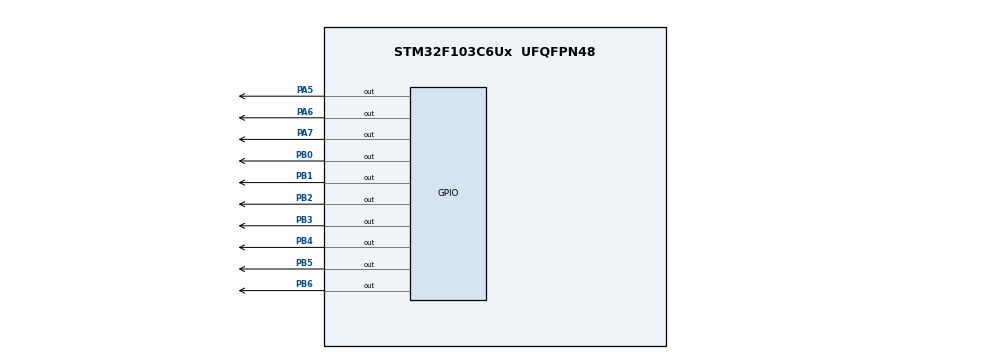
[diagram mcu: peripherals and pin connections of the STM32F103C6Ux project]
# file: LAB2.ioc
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Mcu.Family=STM32F1
Mcu.Name=STM32F103C6Ux
Mcu.Package=UFQFPN48
NVIC.PriorityGroup=NVIC_PRIORITYGROUP_4
NVIC.TIM2_IRQn=true\:0\:0\:false\:false\:true\:true\:true
PA5.Signal=GPIO_Output
PA6.Signal=GPIO_Output
PA7.Signal=GPIO_Output
PB0.Signal=GPIO_Output
PB1.Signal=GPIO_Output
PB2.Signal=GPIO_Output
PB3.Signal=GPIO_Output
PB4.Signal=GPIO_Output
PB5.Signal=GPIO_Output
PB6.Signal=GPIO_Output
ProjectManager.HeapSize=0x200
ProjectManager.StackSize=0x400
ProjectManager.TargetToolchain=STM32CubeIDE
RCC.APB1Freq_Value=8000000
RCC.APB2Freq_Value=8000000
TIM2.Period=9
TIM2.Prescaler=7999
VP_SYS_VS_ND.Mode=No_Debug
VP_TIM2_VS_ClockSourceINT.Mode=Internal
board=custom

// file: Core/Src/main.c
/* USER CODE BEGIN Header */
/**
  ******************************************************************************
  * @file           : main.c
  * @brief          : Main program body
  ******************************************************************************
  * @attention
  *
  * <h2><center>&copy; Copyright (c) 2021 STMicroelectronics.
  * All rights reserved.</center></h2>
  *
  * This software component is licensed by ST under BSD 3-Clause license,
  * the "License"; You may not use this file except in compliance with the
  * License. You may obtain a copy of the License at:
  *                        opensource.org/licenses/BSD-3-Clause
  *
  ******************************************************************************
  */
/* USER CODE END Header */
#include "main.h"
#include "led_7_seg_disp.h"

TIM_HandleTypeDef htim2;

void SystemClock_Config(void);
static void MX_GPIO_Init(void);
static void MX_TIM2_Init(void);

int main(void)
{

  /* MCU Configuration--------------------------------------------------------*/

  /* Reset of all peripherals, Initializes the Flash interface and the Systick. */
  HAL_Init();

  /* Configure the system clock */
  SystemClock_Config();

  /* Initialize all configured peripherals */
  MX_GPIO_Init();
  MX_TIM2_Init();
  /* USER CODE BEGIN 2 */
  HAL_TIM_Base_Start_IT(&htim2);
  /* USER CODE END 2 */

  /* Infinite loop */
  while (1)
  {

  }
}

void SystemClock_Config(void)
{
  RCC_OscInitTypeDef RCC_OscInitStruct = {0};
  RCC_ClkInitTypeDef RCC_ClkInitStruct = {0};

  /** Initializes the RCC Oscillators according to the specified parameters
  * in the RCC_OscInitTypeDef structure.
  */
  RCC_OscInitStruct.OscillatorType = RCC_OSCILLATORTYPE_HSI;
  RCC_OscInitStruct.HSIState = RCC_HSI_ON;
  RCC_OscInitStruct.HSICalibrationValue = RCC_HSICALIBRATION_DEFAULT;
  RCC_OscInitStruct.PLL.PLLState = RCC_PLL_NONE;
  if (HAL_RCC_OscConfig(&RCC_OscInitStruct) != HAL_OK)
  {
    Error_Handler();
  }
  /** Initializes the CPU, AHB and APB buses clocks
  */
  RCC_ClkInitStruct.ClockType = RCC_CLOCKTYPE_HCLK|RCC_CLOCKTYPE_SYSCLK
                              |RCC_CLOCKTYPE_PCLK1|RCC_CLOCKTYPE_PCLK2;
  RCC_ClkInitStruct.SYSCLKSource = RCC_SYSCLKSOURCE_HSI;
  RCC_ClkInitStruct.AHBCLKDivider = RCC_SYSCLK_DIV1;
  RCC_ClkInitStruct.APB1CLKDivider = RCC_HCLK_DIV1;
  RCC_ClkInitStruct.APB2CLKDivider = RCC_HCLK_DIV1;

  if (HAL_RCC_ClockConfig(&RCC_ClkInitStruct, FLASH_LATENCY_0) != HAL_OK)
  {
    Error_Handler();
  }
}

static void MX_TIM2_Init(void)
{

  TIM_ClockConfigTypeDef sClockSourceConfig = {0};
  TIM_MasterConfigTypeDef sMasterConfig = {0};

  htim2.Instance = TIM2;
  htim2.Init.Prescaler = 7999;
  htim2.Init.CounterMode = TIM_COUNTERMODE_UP;
  htim2.Init.Period = 9;
  htim2.Init.ClockDivision = TIM_CLOCKDIVISION_DIV1;
  htim2.Init.AutoReloadPreload = TIM_AUTORELOAD_PRELOAD_DISABLE;
  if (HAL_TIM_Base_Init(&htim2) != HAL_OK)
  {
    Error_Handler();
  }
  sClockSourceConfig.ClockSource = TIM_CLOCKSOURCE_INTERNAL;
  if (HAL_TIM_ConfigClockSource(&htim2, &sClockSourceConfig) != HAL_OK)
  {
    Error_Handler();
  }
  sMasterConfig.MasterOutputTrigger = TIM_TRGO_RESET;
  sMasterConfig.MasterSlaveMode = TIM_MASTERSLAVEMODE_DISABLE;
  if (HAL_TIMEx_MasterConfigSynchronization(&htim2, &sMasterConfig) != HAL_OK)
  {
    Error_Handler();
  }

}

static void MX_GPIO_Init(void)
{
  GPIO_InitTypeDef GPIO_InitStruct = {0};

  /* GPIO Ports Clock Enable */
  __HAL_RCC_GPIOA_CLK_ENABLE();
  __HAL_RCC_GPIOB_CLK_ENABLE();

  /*Configure GPIO pin Output Level */
  HAL_GPIO_WritePin(GPIOA, GPIO_PIN_5|GPIO_PIN_6|GPIO_PIN_7, GPIO_PIN_RESET);

  /*Configure GPIO pin Output Level */
  HAL_GPIO_WritePin(GPIOB, GPIO_PIN_0|GPIO_PIN_1|GPIO_PIN_2|GPIO_PIN_3
                          |GPIO_PIN_4|GPIO_PIN_5|GPIO_PIN_6, GPIO_PIN_RESET);

  /*Configure GPIO pins : PA5 PA6 PA7 */
  GPIO_InitStruct.Pin = GPIO_PIN_5|GPIO_PIN_6|GPIO_PIN_7;
  GPIO_InitStruct.Mode = GPIO_MODE_OUTPUT_PP;
  GPIO_InitStruct.Pull = GPIO_NOPULL;
  GPIO_InitStruct.Speed = GPIO_SPEED_FREQ_LOW;
  HAL_GPIO_Init(GPIOA, &GPIO_InitStruct);

  /*Configure GPIO pins : PB0 PB1 PB2 PB3
                           PB4 PB5 PB6 */
  GPIO_InitStruct.Pin = GPIO_PIN_0|GPIO_PIN_1|GPIO_PIN_2|GPIO_PIN_3
                          |GPIO_PIN_4|GPIO_PIN_5|GPIO_PIN_6;
  GPIO_InitStruct.Mode = GPIO_MODE_OUTPUT_PP;
  GPIO_InitStruct.Pull = GPIO_NOPULL;
  GPIO_InitStruct.Speed = GPIO_SPEED_FREQ_LOW;
  HAL_GPIO_Init(GPIOB, &GPIO_InitStruct);

}

/* USER CODE BEGIN 4 */
int counter = 100;
void HAL_TIM_PeriodElapsedCallback(TIM_HandleTypeDef *htim){
	counter--;
	if (counter > 50){
		HAL_GPIO_WritePin(EN0_PORT, EN0_PIN,0);
		HAL_GPIO_WritePin(EN1_PORT, EN1_PIN,1);
		update_seven_segment_driver(1);
		seven_segment_driver();
	}
	else {
		HAL_GPIO_WritePin(EN0_PORT, EN0_PIN,1);
		HAL_GPIO_WritePin(EN1_PORT, EN1_PIN,0);
		update_seven_segment_driver(2);
		seven_segment_driver();
	}
	if (counter ==0){
		HAL_GPIO_WritePin(LED_BLINK_PORT,LED_BLINK_PIN,1);
		HAL_GPIO_WritePin(LED_BLINK_PORT,LED_BLINK_PIN,0);
		counter=100;
	}

}
/* USER CODE END 4 */

void Error_Handler(void)
{
  __disable_irq();
  while (1)
  {
  }
}

/************************ (C) COPYRIGHT STMicroelectronics *****END OF FILE****/
